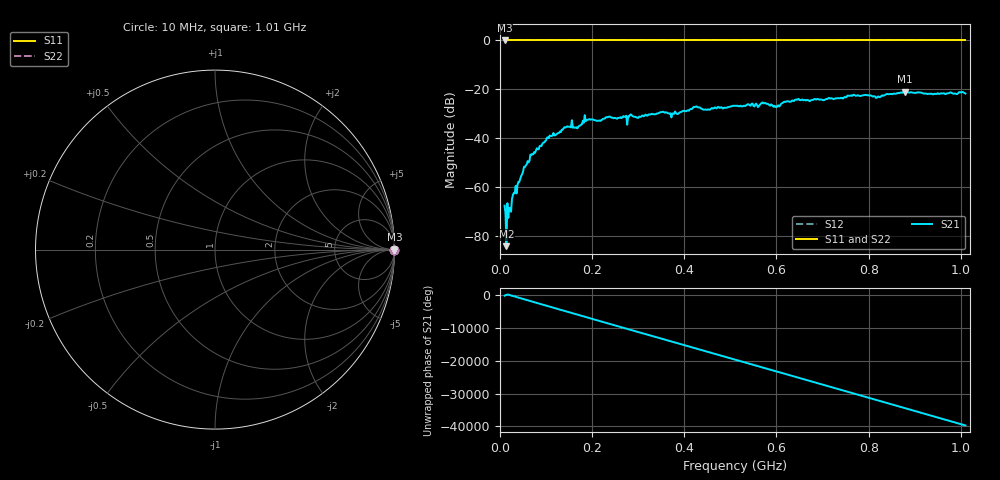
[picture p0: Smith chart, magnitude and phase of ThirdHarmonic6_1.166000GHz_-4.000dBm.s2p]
! 8/16/2025 11:44:38 AM
! C:\ANRITSUVNA\TEMP\TEMP.S2P
! CHANNEL.1
! TR.MEASUREMENT
! RAW.DATA
! RF.CORRECTION.OFF
! AVERAGING.OFF
! IF.BANDWIDTH: 5KHZ
! SWEEPTYPE:  FREQ.SWEEP(Linear)
! Reference Plane Port Info
! PORT:  PORT1  PORT2
! DISTANCE:  0  m  0  m
! TIME:  0  s  0  s
! PHASE.OFFSET:  0  deg.  0  deg.
! LOSS:  0  dB  0  dB
! REF.LOSS:  0  dB  0  dB
! REF.FREQ:  0  Hz  0  Hz
! Power Info
! POWER:  -20  dBm  -20  dBm
! EFF.POWER:  -20  dBm  -20  dBm
! SOURCE.ATTEN:  0  dB  0  dB
! TEST.ATTEN:  0  dB  0  dB
# GHZ S RI R 50.0
! FREQ.GHZ  S11RE  S11IM  S21RE  S21IM  S12RE  S12IM  S22RE  S22IM
!; PortSelection: Port_12
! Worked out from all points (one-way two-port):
!   501 points, 10 MHz to 1.01 GHz, reference 50 ohm
!   highest |S21| = -20.98 dB at 878 MHz (marker M1); lowest = -84.1 dB at 14 MHz (marker M2)
!   lowest |S11| = 0.0 dB at 10 MHz (marker M3)
!   |S11| at or under -10 dB: nowhere
!   |S22| runs from 0.0 to 0.0 dB; largest |S21 - S12| = 1.1
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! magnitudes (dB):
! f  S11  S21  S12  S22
! 10 MHz  0.0  -67.6  0.0  0.0
! 14 MHz  0.0  -84.1  0.0  0.0
! 18 MHz  0.0  -72.6  0.0  0.0
! 30 MHz  0.0  -62.4  0.0  0.0
! 50 MHz  0.0  -53.7  0.0  0.0
! 70 MHz  0.0  -46.4  0.0  0.0
! 106 MHz  0.0  -39.9  0.0  0.0
! 142 MHz  0.0  -35.6  0.0  0.0
! 166 MHz  0.0  -35.5  0.0  0.0
! 178 MHz  0.0  -34.2  0.0  0.0
! 188 MHz  0.0  -32.6  0.0  0.0
! 344 MHz  0.0  -29.7  0.0  0.0
! 374 MHz  0.0  -29.9  0.0  0.0
! 424 MHz  0.0  -27.2  0.0  0.0
! 510 MHz  0.0  -26.8  0.0  0.0
! 572 MHz  0.0  -25.8  0.0  0.0
! 602 MHz  0.0  -26.8  0.0  0.0
! 644 MHz  0.0  -24.2  0.0  0.0
! 678 MHz  0.0  -24.3  0.0  0.0
! 844 MHz  0.0  -22.0  0.0  0.0
! 878 MHz  0.0  -21.0  0.0  0.0
! 1.01 GHz  0.0  -21.7  0.0  0.0
